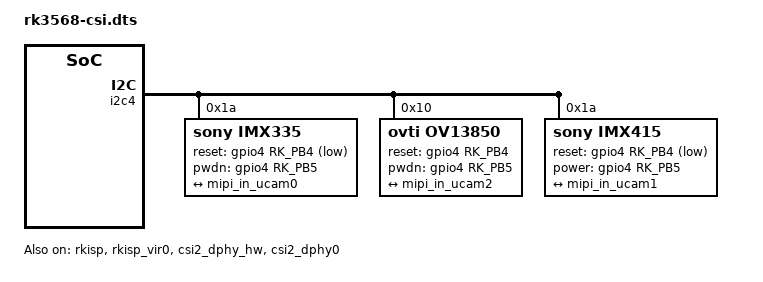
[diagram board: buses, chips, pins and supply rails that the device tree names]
/dts-v1/;
/plugin/;

#include <dt-bindings/gpio/gpio.h>
#include <dt-bindings/pinctrl/rockchip.h>
#include <dt-bindings/interrupt-controller/arm-gic.h>
#include <dt-bindings/interrupt-controller/irq.h>
#include <dt-bindings/clock/rk3568-cru.h>
#include <dt-bindings/power/rk3568-power.h>

&rkisp {
	status = "okay";
};

&rkisp_mmu {
	status = "okay";
};

&rkisp_vir0 {
	status = "okay";

	port {
		#address-cells = <1>;
		#size-cells = <0>;

		isp0_in: endpoint@0 {
			reg = <0>;
			remote-endpoint = <&csidphy_out>;
		};
	};
};

&csi2_dphy_hw {
	status = "okay";
};

&csi2_dphy0 {
	status = "okay";

	ports {
		#address-cells = <1>;
		#size-cells = <0>;
		port@0 {
			reg = <0>;
			#address-cells = <1>;
			#size-cells = <0>;

			mipi_in_ucam0: endpoint@1 {
				reg = <1>;
				remote-endpoint = <&imx335_out>;
				data-lanes = <1 2 3 4>;
			};
			mipi_in_ucam1: endpoint@2 {
				reg = <2>;
				remote-endpoint = <&imx415_out>;
				data-lanes = <1 2 3 4>;
			};
			mipi_in_ucam2: endpoint@3 {
				reg = <3>;
				remote-endpoint = <&ov13850_out>;
				data-lanes = <1 2 3 4>;
			};
		};
		port@1 {
			reg = <1>;
			#address-cells = <1>;
			#size-cells = <0>;

			csidphy_out: endpoint@0 {
				reg = <0>;
				remote-endpoint = <&isp0_in>;
			};
		};
	};
};

&i2c4 {
    #address-cells = <1>;
	#size-cells = <0>;
	status = "okay";

	imx335: imx335@1a {
		status = "okay";
		compatible = "sony,imx335";
		reg = <0x1a>;
		clocks = <&cru CLK_CIF_OUT>;
		clock-names = "xvclk";
		power-domains = <&power RK3568_PD_VI>;
		pinctrl-names = "rockchip,camera_default";
		pinctrl-0 = <&cif_clk>;
		reset-gpios = <&gpio4 RK_PB4 GPIO_ACTIVE_LOW>;
		pwdn-gpios = <&gpio4 RK_PB5 GPIO_ACTIVE_HIGH>;
		rockchip,camera-module-index = <0>;
		rockchip,camera-module-facing = "back";
		rockchip,camera-module-name = "MTV4-IR-E-P";
		rockchip,camera-module-lens-name = "40IRC-4MP-F16";
		port {
			imx335_out: endpoint {
				remote-endpoint = <&mipi_in_ucam0>;
				data-lanes = <1 2 3 4>;
			};
		};
	};

	ov13850: ov13850@10 {
		compatible = "ovti,ov13850";
		status = "okay";
		reg = <0x10>;
		clocks = <&cru CLK_CIF_OUT>;
		clock-names = "xvclk";
		power-domains = <&power RK3568_PD_VI>;

		/* conflict with csi-ctl-gpios */
		reset-gpios = <&gpio4 RK_PB4 GPIO_ACTIVE_HIGH>;
		pwdn-gpios = <&gpio4 RK_PB5 GPIO_ACTIVE_HIGH>;
		pinctrl-names = "rockchip,camera_default";
		pinctrl-0 = <&cif_clk>;
		rockchip,camera-module-index = <0>;
		rockchip,camera-module-facing = "back";
		rockchip,camera-module-name = "ZC-OV13850R2A-V1";
		rockchip,camera-module-lens-name = "Largan-50064B31";

		port {
			ov13850_out: endpoint {
				remote-endpoint = <&mipi_in_ucam2>;
				data-lanes = <1 2 3 4>;
			};
		};
	};

	imx415: imx415@1a {
		status = "okay";
		compatible = "sony,imx415";
		reg = <0x1a>;
		clocks = <&cru CLK_CIF_OUT>;
		clock-names = "xvclk";
		power-domains = <&power RK3568_PD_VI>;
		pinctrl-names = "rockchip,camera_default";
		pinctrl-0 = <&cif_clk>;
		reset-gpios = <&gpio4 RK_PB4 GPIO_ACTIVE_LOW>;
		power-gpios = <&gpio4 RK_PB5 GPIO_ACTIVE_HIGH>;
		rockchip,camera-module-index = <0>;
		rockchip,camera-module-facing = "back";
		rockchip,camera-module-name = "CMK-OT1522-FG3";
		rockchip,camera-module-lens-name = "CS-P1150-IRC-8M-FAU";
		port {
			imx415_out: endpoint {
				remote-endpoint = <&mipi_in_ucam1>;
				data-lanes = <1 2 3 4>;
			};
		};
	};
};

&pinctrl {

	cam {
		camera_gpios: camera-gpios {
			rockchip,pins =
				<4 RK_PB4 RK_FUNC_GPIO &pcfg_pull_none>,
				<4 RK_PB5 RK_FUNC_GPIO &pcfg_pull_none>;
		};
	};

};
